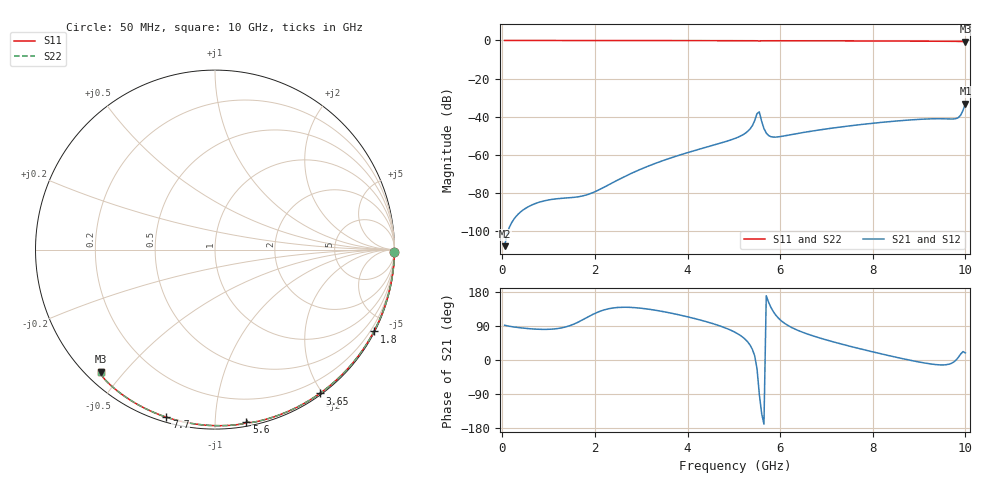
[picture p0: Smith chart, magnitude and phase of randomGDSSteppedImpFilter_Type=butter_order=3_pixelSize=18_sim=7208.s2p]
! freq	dB(S11)	phase(S11)	dB(S12)	phase(S12)
!  dB(S21)	phase(S21)	dB(S22)	phase(S22)
!S-par simulation data
#  GHz  S  DB  R 50
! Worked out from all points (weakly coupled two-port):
!   200 points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, 50 MHz to 10 GHz, reference 50 ohm
!   highest |S21| = -33.01 dB at 10 GHz (marker M1); lowest = -107.7 dB at 50 MHz (marker M2)
!   lowest |S11| = -0.6 dB at 10 GHz (marker M3), VSWR 27.71, Z = 2.14 - j21.7 ohm
!   |S11| at or under -10 dB: nowhere
!   |S22| runs from -0.6 to 0.0 dB; largest |S21 - S12| = 0
!   S11 on the Smith chart (normalised r, x): 50 MHz: open; 1.8 GHz: 0.04, -4.13; 3.65 GHz: 0.02, -1.97; 5.6 GHz: 0.03, -1.20; 7.7 GHz: 0.02, -0.75; 10 GHz: 0.04, -0.43
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0.05  -0.00 -0.8  -107.71 91.7  -107.71 91.7  -0.00 -0.8
1.75  -0.03 -26.5  -81.33 107.0  -81.33 107.0  -0.03 -26.5
1.8  -0.03 -27.2  -81.00 110.3  -81.00 110.3  -0.03 -27.2
2  -0.04 -30.2  -79.21 123.0  -79.21 123.0  -0.04 -30.2
2.75  -0.05 -41.1  -70.00 139.0  -70.00 139.0  -0.05 -41.1
3.4  -0.07 -50.4  -63.51 129.4  -63.51 129.4  -0.07 -50.4
3.65  -0.07 -53.9  -61.42 123.5  -61.42 123.5  -0.07 -53.9
5.05  -0.11 -73.0  -51.07 71.6  -51.07 71.6  -0.11 -73.0
5.35  -0.13 -77.1  -46.33 39.4  -46.33 39.4  -0.13 -77.1
5.45  -0.15 -78.6  -42.02 11.0  -42.02 11.0  -0.15 -78.6
5.5  -0.21 -79.4  -38.32 -22.7  -38.32 -22.7  -0.21 -79.4
5.55  -0.27 -79.3  -37.42 -90.3  -37.42 -90.3  -0.27 -79.3
5.6  -0.19 -79.7  -42.25 -140.9  -42.25 -140.9  -0.19 -79.7
5.65  -0.16 -80.5  -46.14 -169.3  -46.14 -169.3  -0.16 -80.5
5.7  -0.15 -81.2  -48.48 169.6  -48.48 169.6  -0.15 -81.2
5.8  -0.15 -82.5  -50.39 138.8  -50.39 138.8  -0.15 -82.5
6.7  -0.18 -94.0  -47.40 64.0  -47.40 64.0  -0.18 -94.0
7.7  -0.24 -106.2  -44.15 30.3  -44.15 30.3  -0.24 -106.2
8.35  -0.29 -113.9  -42.52 11.5  -42.52 11.5  -0.29 -113.9
9.8  -0.47 -130.9  -40.92 0.0  -40.92 0.0  -0.47 -130.9
9.9  -0.52 -132.1  -39.02 16.0  -39.02 16.0  -0.52 -132.1
10  -0.63 -133.0  -33.01 18.7  -33.01 18.7  -0.63 -133.0
